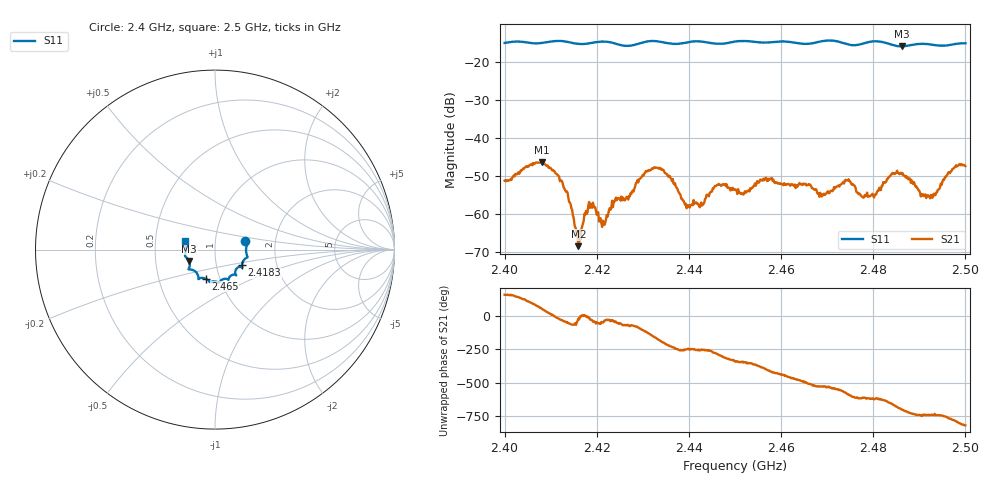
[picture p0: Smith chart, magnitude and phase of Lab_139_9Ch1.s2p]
# Hz S RI R 50
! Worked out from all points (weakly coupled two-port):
!   601 points, 2.4 GHz to 2.5 GHz, reference 50 ohm
!   highest |S21| = -46.35 dB at 2.4082 GHz (marker M1); lowest = -68.4 dB at 2.416 GHz (marker M2)
!   lowest |S11| = -16.0 dB at 2.4862 GHz (marker M3), VSWR 1.38, Z = 37.1 - j4.84 ohm
!   |S11| at or under -10 dB: start of sweep to end of sweep
!   S12 and S22 are empty: the file has one direction only
!   S11 on the Smith chart (normalised r, x): 2.4 GHz: 1.40, +0.13; 2.4183 GHz: 1.33, -0.24; 2.465 GHz: 0.86, -0.29; 2.5 GHz: 0.71, +0.07
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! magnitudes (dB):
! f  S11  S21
! 2.4 GHz  -15.1  -51.2
! 2.4082 GHz  -15.1  -46.4
! 2.4132 GHz  -14.7  -53.8
! 2.416 GHz  -15.4  -68.4
! 2.4167 GHz  -15.4  -63.9
! 2.4183 GHz  -15.2  -56.8
! 2.4215 GHz  -14.8  -62.3
! 2.4242 GHz  -15.4  -55.6
! 2.4333 GHz  -14.7  -47.8
! 2.4397 GHz  -15.0  -57.7
! 2.4428 GHz  -14.8  -57.7
! 2.4462 GHz  -15.3  -52.3
! 2.45 GHz  -14.8  -53.5
! 2.465 GHz  -15.4  -52.1
! 2.4667 GHz  -15.2  -53.1
! 2.4692 GHz  -14.6  -54.7
! 2.4745 GHz  -15.5  -51.1
! 2.4797 GHz  -14.8  -54.9
! 2.4833 GHz  -15.3  -50.2
! 2.4862 GHz  -16.0  -49.5
! 2.4923 GHz  -15.5  -55.8
! 2.5 GHz  -15.2  -47.4
